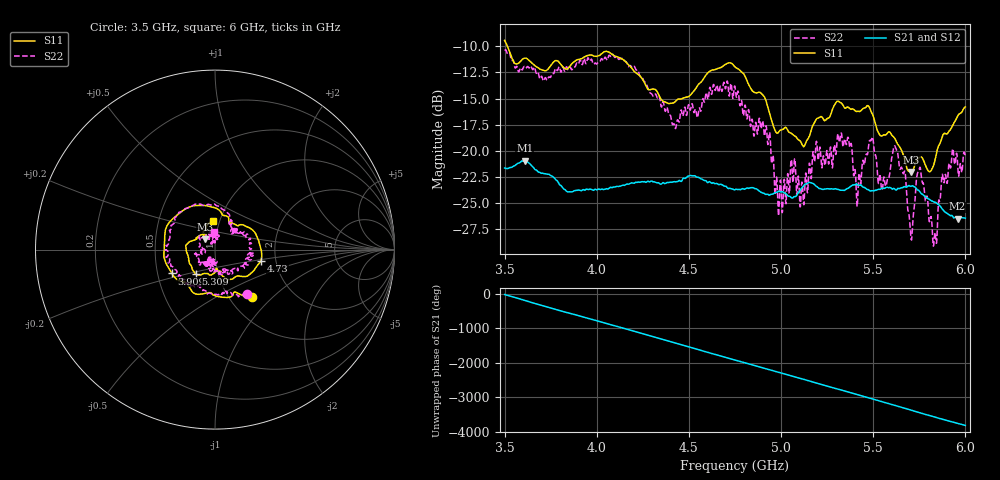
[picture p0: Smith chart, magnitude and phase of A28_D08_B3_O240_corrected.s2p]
! Created with skrf 1.9.0 (http://scikit-rf.org).
# Hz S RI R 50.0
!freq ReS11 ImS11 ReS21 ImS21 ReS12 ImS12 ReS22 ImS22
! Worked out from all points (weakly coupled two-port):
!   1601 points, 3.5 GHz to 6 GHz, reference 50 ohm
!   highest |S21| = -20.93 dB at 3.609 GHz (marker M1); lowest = -26.5 dB at 5.958 GHz (marker M2)
!   lowest |S11| = -22.0 dB at 5.706 GHz (marker M3), VSWR 1.17, Z = 44.6 + j5.2 ohm
!   |S11| at or under -10 dB: 3.515 GHz to end of sweep
!   |S22| runs from -29.1 to -10.3 dB; largest |S21 - S12| = 0.0011
!   S11 on the Smith chart (normalised r, x): 3.5 GHz: 1.27, -0.76; 3.909 GHz: 0.59, -0.17; 4.73 GHz: 1.67, -0.22; 5.309 GHz: 0.78, -0.22; 6 GHz: 0.93, +0.31
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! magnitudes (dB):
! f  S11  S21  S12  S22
! 3.5 GHz  -9.5  -21.6  -21.6  -10.4
! 3.609 GHz  -11.1  -20.9  -20.9  -12.0
! 3.909 GHz  -11.2  -23.8  -23.7  -11.3
! 3.917 GHz  -11.2  -23.8  -23.8  -11.6
! 4.334 GHz  -14.6  -23.0  -23.0  -14.8
! 4.42 GHz  -15.4  -22.9  -22.9  -17.4
! 4.73 GHz  -11.6  -23.6  -23.5  -13.6
! 4.75 GHz  -12.0  -23.7  -23.6  -13.9
! 4.928 GHz  -15.8  -24.1  -24.1  -19.4
! 4.995 GHz  -18.0  -23.9  -23.9  -22.8
! 5.167 GHz  -17.8  -23.1  -23.1  -21.7
! 5.309 GHz  -15.2  -23.7  -23.6  -18.4
! 5.419 GHz  -16.2  -23.3  -23.3  -23.3
! 5.489 GHz  -16.3  -23.8  -23.8  -19.0
! 5.584 GHz  -18.2  -23.5  -23.5  -22.6
! 5.623 GHz  -19.0  -23.7  -23.7  -19.8
! 5.706 GHz  -22.0  -23.4  -23.3  -28.5
! 5.747 GHz  -20.7  -23.8  -23.8  -21.8
! 5.834 GHz  -20.9  -24.9  -24.8  -27.9
! 5.88 GHz  -18.4  -25.6  -25.6  -22.7
! 5.958 GHz  -16.7  -26.5  -26.4  -21.3
! 6 GHz  -15.8  -26.4  -26.4  -20.3
